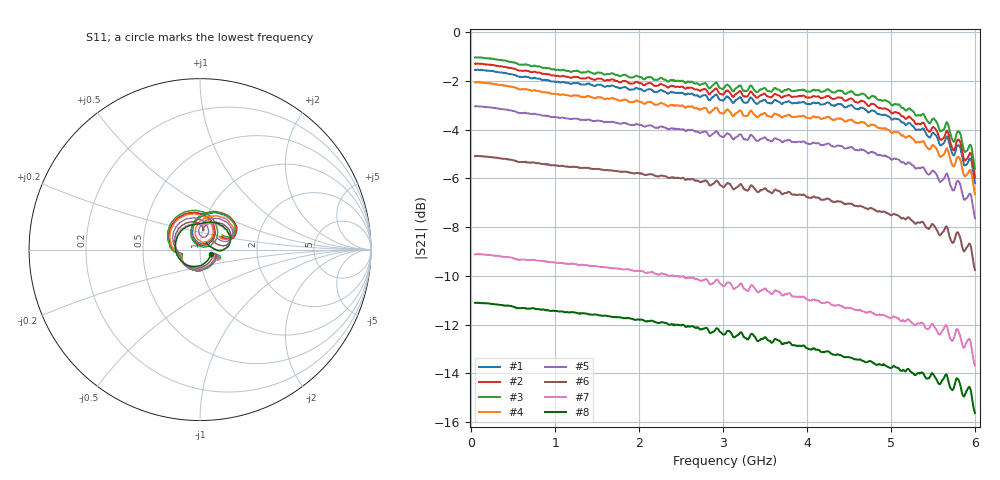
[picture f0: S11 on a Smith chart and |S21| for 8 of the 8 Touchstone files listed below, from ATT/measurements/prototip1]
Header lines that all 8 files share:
! Touchstone 1.1 file saved by VNA.EXE V1.65 (www.ke5fx.com/gpib/readme.htm)
!  Source: HP8510C.07.14: Aug 26  1998
!  Min freq: 4.500000E+007 Hz
!  Max freq: 6.000000E+009 Hz
!  Points: 801
!  Params: S11 S21 S12 S22
# GHZ S DB R 50
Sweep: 45 MHz to 6 GHz
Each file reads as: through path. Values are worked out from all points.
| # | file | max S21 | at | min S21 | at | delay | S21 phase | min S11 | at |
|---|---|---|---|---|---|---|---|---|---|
| 1 | 0_5dB.S2P | -1.54 dB | 52.44 MHz | -6.2 dB | 6 GHz | 173 ps | 176 deg at 3.022 GHz | -29.4 dB | 4.429 GHz |
| 2 | 0_25dB.S2P | -1.28 dB | 52.44 MHz | -6.0 dB | 6 GHz | 173 ps | 176 deg at 3.022 GHz | -31.9 dB | 4.429 GHz |
| 3 | 0dB.S2P | -1.03 dB | 52.44 MHz | -5.6 dB | 6 GHz | 172 ps | 177 deg at 3.022 GHz | -34.6 dB | 4.496 GHz |
| 4 | 1dB.S2P | -2.06 dB | 59.89 MHz | -6.7 dB | 6 GHz | 172 ps | 176 deg at 3.022 GHz | -26.8 dB | 4.452 GHz |
| 5 | 2dB.S2P | -3.03 dB | 52.44 MHz | -7.6 dB | 6 GHz | 171 ps | 177 deg at 3.022 GHz | -22.7 dB | 4.437 GHz |
| 6 | 4dB.S2P | -5.08 dB | 59.89 MHz | -9.8 dB | 6 GHz | 170 ps | 176 deg at 3.022 GHz | -21.3 dB | 89.66 MHz |
| 7 | 8dB.S2P | -9.11 dB | 52.44 MHz | -13.7 dB | 6 GHz | 167 ps | 179 deg at 3.022 GHz | -24.4 dB | 5.993 GHz |
| 8 | 10dB.S2P | -11.10 dB | 52.44 MHz | -15.6 dB | 6 GHz | 166 ps | 179 deg at 3.022 GHz | -25.2 dB | 5.993 GHz |
